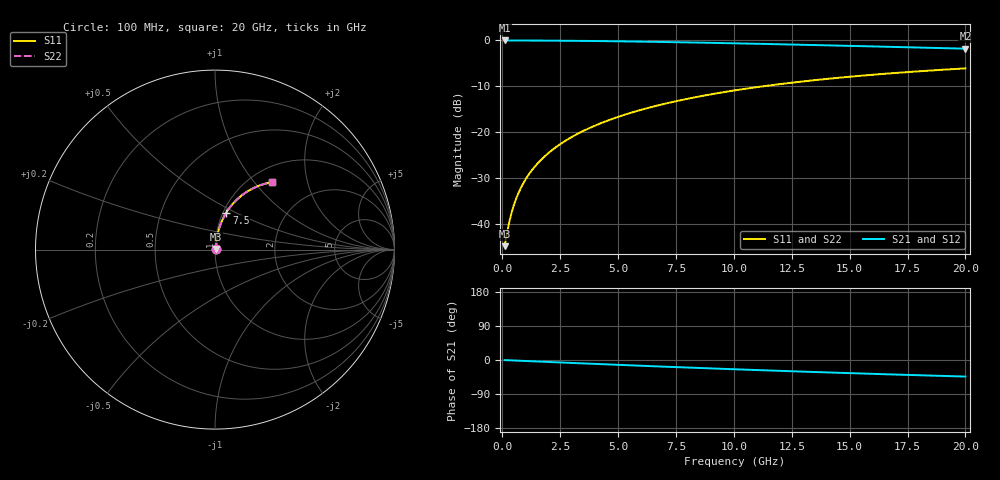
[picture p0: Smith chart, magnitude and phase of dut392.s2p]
! Touchstone file exported from HFSS 2024.1.0
!  File:  C:/UserFiles/LocalFiles/RDL_TSV_Batchsim/temp_RDL_bottom_392_1779614369.aedt
!  Generated:  05:22:32 PM May 24, 2026
!  Design:  RDL_bottom
!  Project:  temp_RDL_bottom_392_1779614369
!  Setup:  Setup1
!  Solution:  Sweep
! Variables:
!  dtsv = 10.80580581um
!  hbump = 3um
!  htsv = 63.92um
!  ldown = 540.24um
!  lrdl = 100um
!  p = 40
!  p1 = 55.47um
!  rhole = 1um
!  t = 450um
!  tdown = 3.02um
!  trdl = 3.915915916um
!  wdown = 13.58um
!  wrdl = 20um
# GHz S MA R 50.000000
! Terminal data exported
! Port[1] = RDL1_T1
! Port[2] = RDL1_T2
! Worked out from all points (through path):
!   200 points, 100 MHz to 20 GHz, reference 50 ohm
!   highest |S21| = -0.04 dB at 100 MHz (marker M1); lowest = -1.8 dB at 20 GHz (marker M2)
!   group delay of S21, straight-line fit = 6.07 ps
!   lowest |S11| = -44.9 dB at 100 MHz (marker M3), VSWR 1.01, Z = 50.5 + j0.307 ohm
!   |S11| at or under -10 dB: start of sweep to 11.33 GHz
!   |S22| runs from -44.9 to -6.1 dB; largest |S21 - S12| = 3.3e-15
!   S11 on the Smith chart (normalised r, x): 100 MHz: 1.01, +0.01; 7.5 GHz: 1.04, +0.45; 20 GHz: 1.25, +1.24
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0.1  0.005657 32.6  0.9952 -0.3  0.9952 -0.3  0.005657 32.6
! Gamma 0 0 0 0
! Port Impedance 50 0 50 0
0.2  0.007774 51.3  0.9951 -0.5  0.9951 -0.5  0.007774 51.3
0.3  0.01035 61.2  0.995 -0.8  0.995 -0.8  0.01035 61.2
0.4  0.01309 66.8  0.9949 -1.1  0.9949 -1.1  0.01309 66.8
0.5  0.0159 70.4  0.9947 -1.3  0.9947 -1.3  0.0159 70.4
0.6  0.01873 72.8  0.9945 -1.6  0.9945 -1.6  0.01873 72.8
0.8  0.02443 75.9  0.9941 -2.1  0.9941 -2.1  0.02443 75.9
1.1  0.03302 78.3  0.9935 -2.9  0.9935 -2.9  0.03302 78.3
1.5  0.04453 79.9  0.9925 -3.9  0.9925 -3.9  0.04453 79.9
1.8  0.0532 80.4  0.9916 -4.7  0.9916 -4.7  0.0532 80.4
2.1  0.06188 80.6  0.9906 -5.5  0.9906 -5.5  0.06188 80.6
2.7  0.07927 80.5  0.9882 -7.0  0.9882 -7.0  0.07928 80.5
3.5  0.1025 79.8  0.9842 -9.1  0.9842 -9.1  0.1025 79.8
4.2  0.1227 78.8  0.9799 -10.8  0.9799 -10.8  0.1227 78.8
5  0.1457 77.6  0.9744 -12.8  0.9744 -12.8  0.1457 77.6
5.9  0.1714 76.0  0.9673 -15.0  0.9673 -15.0  0.1714 76.0
6.8  0.1967 74.3  0.9594 -17.1  0.9594 -17.1  0.1968 74.3
7.5  0.2162 73.0  0.9528 -18.8  0.9528 -18.8  0.2162 73.0
10.1  0.2854 67.8  0.9258 -24.6  0.9258 -24.6  0.2854 67.8
13.4  0.3651 61.4  0.8879 -31.6  0.8879 -31.6  0.3651 61.4
16.7  0.4343 55.2  0.8484 -37.9  0.8484 -37.9  0.4344 55.3
20  0.4932 49.6  0.8094 -43.7  0.8094 -43.7  0.4933 49.6
